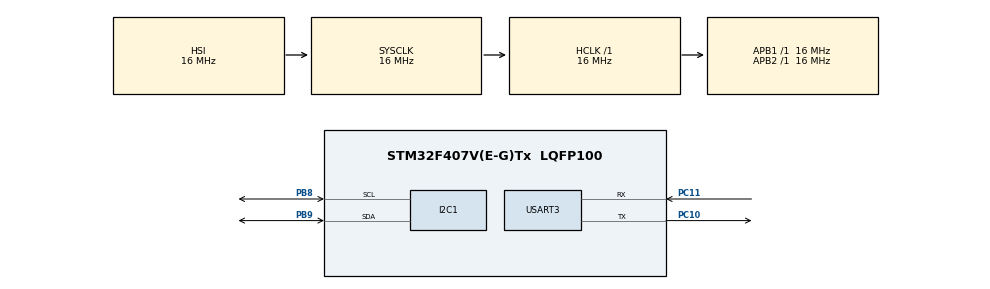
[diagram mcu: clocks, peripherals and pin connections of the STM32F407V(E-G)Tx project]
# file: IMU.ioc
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Mcu.Family=STM32F4
Mcu.Name=STM32F407V(E-G)Tx
Mcu.Package=LQFP100
NVIC.PriorityGroup=NVIC_PRIORITYGROUP_4
PB8.Mode=I2C
PB8.Signal=I2C1_SCL
PB9.Mode=I2C
PB9.Signal=I2C1_SDA
PC10.Mode=Asynchronous
PC10.Signal=USART3_TX
PC11.Mode=Asynchronous
PC11.Signal=USART3_RX
ProjectManager.HeapSize=0x200
ProjectManager.StackSize=0x400
ProjectManager.TargetToolchain=STM32CubeIDE
RCC.AHBFreq_Value=16000000
RCC.APB1Freq_Value=16000000
RCC.APB2Freq_Value=16000000
RCC.CortexFreq_Value=16000000
RCC.HSE_VALUE=25000000
RCC.HSI_VALUE=16000000
RCC.LSE_VALUE=32768
RCC.SYSCLKFreq_VALUE=16000000
RCC.VCOOutputFreq_Value=192000000
USART3.VirtualMode=VM_ASYNC
board=custom

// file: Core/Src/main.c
/* USER CODE BEGIN Header */
/**
  ******************************************************************************
  * @file           : main.c
  * @brief          : Main program body
  ******************************************************************************
  * @attention
  *
  * Copyright (c) 2023 STMicroelectronics.
  * All rights reserved.
  *
  * This software is licensed under terms that can be found in the LICENSE file
  * in the root directory of this software component.
  * If no LICENSE file comes with this software, it is provided AS-IS.
  *
  ******************************************************************************
  */
/* USER CODE END Header */
#include "main.h"

/* USER CODE BEGIN Includes */
#include "ICM20948.h"
/* USER CODE END Includes */

/* USER CODE BEGIN PD */
ICM20948 imu; // Declare a variable with structure type ICM20948
/* USER CODE END PD */

I2C_HandleTypeDef hi2c1;

UART_HandleTypeDef huart3;

void SystemClock_Config(void);
static void MX_GPIO_Init(void);
static void MX_I2C1_Init(void);
static void MX_USART3_UART_Init(void);

int main(void)
{

  /* MCU Configuration--------------------------------------------------------*/

  /* Reset of all peripherals, Initializes the Flash interface and the Systick. */
  HAL_Init();

  /* Configure the system clock */
  SystemClock_Config();

  /* Initialize all configured peripherals */
  MX_GPIO_Init();
  MX_I2C1_Init();
  MX_USART3_UART_Init();
  /* USER CODE BEGIN 2 */
  uint8_t status = IMU_Initialise(&imu, &hi2c1, &huart3);
  /* USER CODE END 2 */

  /* Infinite loop */
  while (1) {

    /* USER CODE BEGIN 3 */
  		uint8_t sbuf[6][10] = { 0 };
  				//uint8_t sbuf[60] = { 0 };
  				/* USER CODE END WHILE */
  				IMU_AccelRead(&imu);
  				IMU_GyroRead(&imu);

  				sprintf(&sbuf[0], "%5.2f ", imu.acc[0]);
  				sprintf(&sbuf[1], "%5.2f ", imu.acc[1]);
  				sprintf(&sbuf[2], "%5.2f ", imu.acc[2]);
  				sprintf(&sbuf[3], "%5.2f , ", imu.gyro[0]);
  				sprintf(&sbuf[4], "%5.2f , ", imu.gyro[1]);
  				sprintf(&sbuf[5], "%5.2f , ", imu.gyro[2]);

  				//HAL_UART_Transmit(&huart3, sbuf, 60, HAL_MAX_DELAY);
  				//HAL_UART_Transmit(&huart3, "\n\r", 2, HAL_MAX_DELAY);
  				//HAL_Delay(100);

  				//for (int i = 0; i < 3; i++) {
  				//	sprintf(sbuf[i], "%5.2f , ", imu.acc[i]);
  				//	HAL_UART_Transmit(&huart3, sbuf[i], 10, HAL_MAX_DELAY);
  				//}
  				//HAL_Delay(100);
  				//for (int i = 3; i < 6; i++) {
  				//	sprintf(sbuf[i], "%5.2f , ", imu.gyro[i-3]);
  				//	HAL_UART_Transmit(&huart3, sbuf[i], 10, HAL_MAX_DELAY);
  				//}
  				//sprintf(&sbuf[0], "%5.2f , ", imu.acc[0]);
  				//sprintf(&sbuf[1], "%5.2f , ", imu.acc[1]);
  				//sprintf(&sbuf[2], "%5.2f , ", imu.acc[2]);
  				HAL_UART_Transmit(&huart3, sbuf, 60, HAL_MAX_DELAY);
  				HAL_UART_Transmit(&huart3, "\n\r", 2, HAL_MAX_DELAY);
  				HAL_Delay(100);
  				//sprintf(sbuf[2], "\n\r");
  				//HAL_URAT_Transmit(&huart3, sbuf[2], 2, HAL_MAX_DELAY);

  				//for (int i = 3; i < 6; i++) {
  				//	sprintf(sbuf[i], "%5.2f ", imu.gyro[i]);
  				//	HAL_UART_Transmit(&huart3, sbuf[i], 10, HAL_MAX_DELAY);
  				//}
  				//HAL_URAT_Transmit(&huart3, "\n\r", 2, HAL_MAX_DELAY);

  	}
  /* USER CODE END 3 */
}

void SystemClock_Config(void)
{
  RCC_OscInitTypeDef RCC_OscInitStruct = {0};
  RCC_ClkInitTypeDef RCC_ClkInitStruct = {0};

  /** Configure the main internal regulator output voltage
  */
  __HAL_RCC_PWR_CLK_ENABLE();
  __HAL_PWR_VOLTAGESCALING_CONFIG(PWR_REGULATOR_VOLTAGE_SCALE1);

  /** Initializes the RCC Oscillators according to the specified parameters
  * in the RCC_OscInitTypeDef structure.
  */
  RCC_OscInitStruct.OscillatorType = RCC_OSCILLATORTYPE_HSI;
  RCC_OscInitStruct.HSIState = RCC_HSI_ON;
  RCC_OscInitStruct.HSICalibrationValue = RCC_HSICALIBRATION_DEFAULT;
  RCC_OscInitStruct.PLL.PLLState = RCC_PLL_NONE;
  if (HAL_RCC_OscConfig(&RCC_OscInitStruct) != HAL_OK)
  {
    Error_Handler();
  }

  /** Initializes the CPU, AHB and APB buses clocks
  */
  RCC_ClkInitStruct.ClockType = RCC_CLOCKTYPE_HCLK|RCC_CLOCKTYPE_SYSCLK
                              |RCC_CLOCKTYPE_PCLK1|RCC_CLOCKTYPE_PCLK2;
  RCC_ClkInitStruct.SYSCLKSource = RCC_SYSCLKSOURCE_HSI;
  RCC_ClkInitStruct.AHBCLKDivider = RCC_SYSCLK_DIV1;
  RCC_ClkInitStruct.APB1CLKDivider = RCC_HCLK_DIV1;
  RCC_ClkInitStruct.APB2CLKDivider = RCC_HCLK_DIV1;

  if (HAL_RCC_ClockConfig(&RCC_ClkInitStruct, FLASH_LATENCY_0) != HAL_OK)
  {
    Error_Handler();
  }
}

static void MX_I2C1_Init(void)
{

  hi2c1.Instance = I2C1;
  hi2c1.Init.ClockSpeed = 100000;
  hi2c1.Init.DutyCycle = I2C_DUTYCYCLE_2;
  hi2c1.Init.OwnAddress1 = 0;
  hi2c1.Init.AddressingMode = I2C_ADDRESSINGMODE_7BIT;
  hi2c1.Init.DualAddressMode = I2C_DUALADDRESS_DISABLE;
  hi2c1.Init.OwnAddress2 = 0;
  hi2c1.Init.GeneralCallMode = I2C_GENERALCALL_DISABLE;
  hi2c1.Init.NoStretchMode = I2C_NOSTRETCH_DISABLE;
  if (HAL_I2C_Init(&hi2c1) != HAL_OK)
  {
    Error_Handler();
  }

}

static void MX_USART3_UART_Init(void)
{

  huart3.Instance = USART3;
  huart3.Init.BaudRate = 115200;
  huart3.Init.WordLength = UART_WORDLENGTH_8B;
  huart3.Init.StopBits = UART_STOPBITS_1;
  huart3.Init.Parity = UART_PARITY_NONE;
  huart3.Init.Mode = UART_MODE_TX_RX;
  huart3.Init.HwFlowCtl = UART_HWCONTROL_NONE;
  huart3.Init.OverSampling = UART_OVERSAMPLING_16;
  if (HAL_UART_Init(&huart3) != HAL_OK)
  {
    Error_Handler();
  }

}

static void MX_GPIO_Init(void)
{

  /* GPIO Ports Clock Enable */
  __HAL_RCC_GPIOC_CLK_ENABLE();
  __HAL_RCC_GPIOB_CLK_ENABLE();

}

void Error_Handler(void)
{
  __disable_irq();
  while (1)
  {
  }
}
